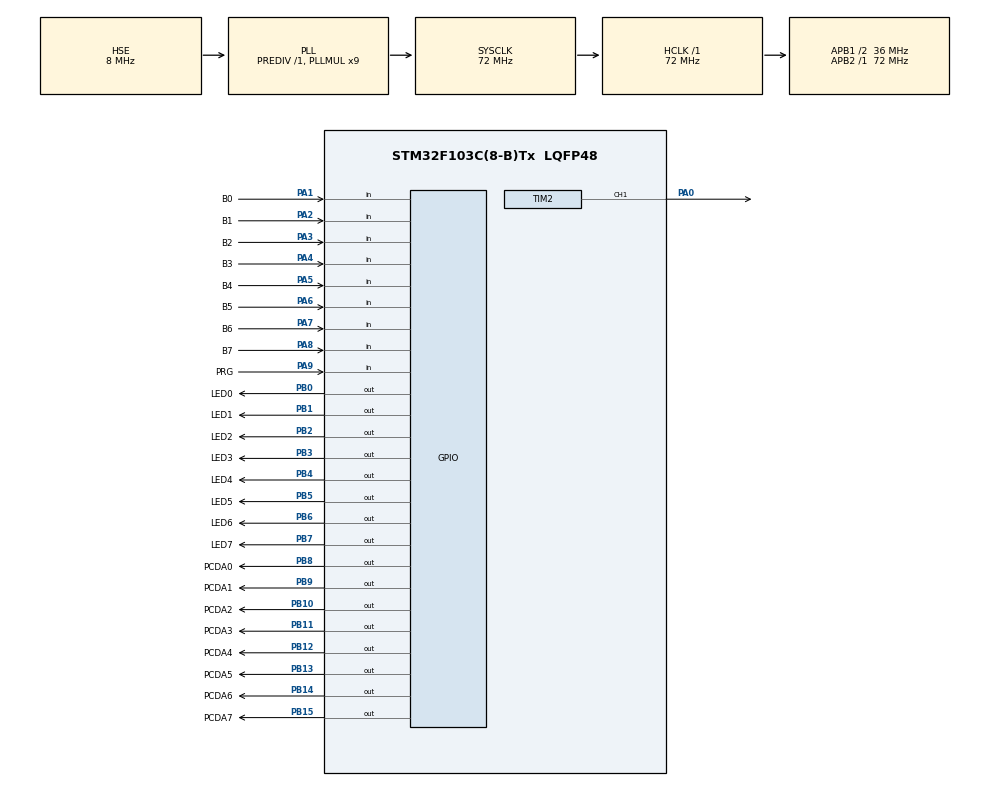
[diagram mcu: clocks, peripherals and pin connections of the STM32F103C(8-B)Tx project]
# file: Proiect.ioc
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Mcu.Family=STM32F1
Mcu.Name=STM32F103C(8-B)Tx
Mcu.Package=LQFP48
NVIC.PriorityGroup=NVIC_PRIORITYGROUP_4
NVIC.TIM2_IRQn=true\:0\:0\:false\:false\:true\:true\:true\:true
PA0-WKUP.Signal=S_TIM2_CH1_ETR
PA1.GPIO_Label=B0
PA1.GPIO_PuPd=GPIO_PULLDOWN
PA1.Signal=GPIO_Input
PA13.Mode=Serial_Wire
PA13.Signal=SYS_JTMS-SWDIO
PA14.Mode=Serial_Wire
PA14.Signal=SYS_JTCK-SWCLK
PA2.GPIO_Label=B1
PA2.GPIO_PuPd=GPIO_PULLDOWN
PA2.Signal=GPIO_Input
PA3.GPIO_Label=B2
PA3.GPIO_PuPd=GPIO_PULLDOWN
PA3.Signal=GPIO_Input
PA4.GPIO_Label=B3
PA4.GPIO_PuPd=GPIO_PULLDOWN
PA4.Signal=GPIO_Input
PA5.GPIO_Label=B4
PA5.GPIO_PuPd=GPIO_PULLDOWN
PA5.Signal=GPIO_Input
PA6.GPIO_Label=B5
PA6.GPIO_PuPd=GPIO_PULLDOWN
PA6.Signal=GPIO_Input
PA7.GPIO_Label=B6
PA7.GPIO_PuPd=GPIO_PULLDOWN
PA7.Signal=GPIO_Input
PA8.GPIO_Label=B7
PA8.GPIO_PuPd=GPIO_PULLDOWN
PA8.Signal=GPIO_Input
PA9.GPIO_Label=PRG
PA9.GPIO_PuPd=GPIO_PULLUP
PA9.Signal=GPIO_Input
PB0.GPIO_Label=LED0
PB0.Signal=GPIO_Output
PB1.GPIO_Label=LED1
PB1.Signal=GPIO_Output
PB10.GPIO_Label=PCDA2
PB10.Signal=GPIO_Output
PB11.GPIO_Label=PCDA3
PB11.Signal=GPIO_Output
PB12.GPIO_Label=PCDA4
PB12.Signal=GPIO_Output
PB13.GPIO_Label=PCDA5
PB13.Signal=GPIO_Output
PB14.GPIO_Label=PCDA6
PB14.Signal=GPIO_Output
PB15.GPIO_Label=PCDA7
PB15.Signal=GPIO_Output
PB2.GPIO_Label=LED2
PB2.Signal=GPIO_Output
PB3.GPIO_Label=LED3
PB3.Signal=GPIO_Output
PB4.GPIO_Label=LED4
PB4.Signal=GPIO_Output
PB5.GPIO_Label=LED5
PB5.Signal=GPIO_Output
PB6.GPIO_Label=LED6
PB6.Signal=GPIO_Output
PB7.GPIO_Label=LED7
PB7.Signal=GPIO_Output
PB8.GPIO_Label=PCDA0
PB8.Signal=GPIO_Output
PB9.GPIO_Label=PCDA1
PB9.Signal=GPIO_Output
PD0-OSC_IN.Mode=HSE-External-Oscillator
PD0-OSC_IN.Signal=RCC_OSC_IN
PD1-OSC_OUT.Mode=HSE-External-Oscillator
PD1-OSC_OUT.Signal=RCC_OSC_OUT
ProjectManager.HeapSize=0x200
ProjectManager.StackSize=0x400
ProjectManager.TargetToolchain=STM32CubeIDE
RCC.AHBFreq_Value=72000000
RCC.APB1CLKDivider=RCC_HCLK_DIV2
RCC.APB1Freq_Value=36000000
RCC.APB1TimFreq_Value=72000000
RCC.APB2Freq_Value=72000000
RCC.APB2TimFreq_Value=72000000
RCC.HCLKFreq_Value=72000000
RCC.PLLMUL=RCC_PLL_MUL9
RCC.PLLSourceVirtual=RCC_PLLSOURCE_HSE
RCC.SYSCLKFreq_VALUE=72000000
RCC.SYSCLKSource=RCC_SYSCLKSOURCE_PLLCLK
RCC.USBFreq_Value=72000000
SH.S_TIM2_CH1_ETR.0=TIM2_CH1,Output Compare1 CH1
TIM2.Channel-Output\ Compare1\ CH1=TIM_CHANNEL_1
TIM2.Period=100
TIM2.Prescaler=7199
VP_TIM2_VS_ClockSourceINT.Mode=Internal
board=custom

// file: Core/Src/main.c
/* USER CODE BEGIN Header */
/**
  ******************************************************************************
  * @file           : main.c
  * @brief          : Main program body
  ******************************************************************************
  * @attention
  *
  * Copyright (c) 2026 STMicroelectronics.
  * All rights reserved.
  *
  * This software is licensed under terms that can be found in the LICENSE file
  * in the root directory of this software component.
  * If no LICENSE file comes with this software, it is provided AS-IS.
  *
  ******************************************************************************
  */
/* USER CODE END Header */
#include "main.h"

TIM_HandleTypeDef htim2;

void SystemClock_Config(void);
static void MX_GPIO_Init(void);
static void MX_TIM2_Init(void);

/* USER CODE BEGIN 0 */
/* Timer2 Interrupt Service Routine*/
void HAL_TIM_PeriodElapsedCallback(TIM_HandleTypeDef *htim2)
{
  if (htim2->Instance == TIM2)
  {
    // Variabila de stare Q pentru automat (trebuie sa fie statica pentru a-si pastra valoarea)
    static uint8_t Q = 0;

    // Variabile pentru a stoca starea curenta a butoanelor
    GPIO_PinState b0, b1, b2, b3, b4, b5, b6, b7;
    GPIO_PinState prg_state;

    // 1. BLOCUL: "citeste B7-B0 (CDA)" + citire PRG
    prg_state = HAL_GPIO_ReadPin(GPIOA, PRG_Pin);

    b0 = HAL_GPIO_ReadPin(GPIOA, B0_Pin);
    b1 = HAL_GPIO_ReadPin(GPIOA, B1_Pin);
    b2 = HAL_GPIO_ReadPin(GPIOA, B2_Pin);
    b3 = HAL_GPIO_ReadPin(GPIOA, B3_Pin);
    b4 = HAL_GPIO_ReadPin(GPIOA, B4_Pin);
    b5 = HAL_GPIO_ReadPin(GPIOA, B5_Pin);
    b6 = HAL_GPIO_ReadPin(GPIOA, B6_Pin);
    b7 = HAL_GPIO_ReadPin(GPIOA, B7_Pin);

    // 2. BLOCUL: "TRS_CDA" (Automatul de stări)
    switch (Q)
    {
      case 0:
        // Așteptăm apăsarea PRG (PRG/ -> LOW / RESET)
        if (prg_state == GPIO_PIN_RESET)
        {
          Q = 1; // Trecem în starea 1
        }
        break;

      case 1:
        // Așteptăm eliberarea PRG (PRG -> HIGH / SET)
        if (prg_state == GPIO_PIN_SET)
        {
          Q = 2; // Trecem în starea 2
        }
        break;

      case 2:
        // BLOCUL: "PCDA = comanda"
        // Scriem valorile citite pe portul PCDA și pe LED-uri
        HAL_GPIO_WritePin(GPIOB, LED0_Pin, b0);
        HAL_GPIO_WritePin(GPIOB, PCDA0_Pin, b0);

        HAL_GPIO_WritePin(GPIOB, LED1_Pin, b1);
        HAL_GPIO_WritePin(GPIOB, PCDA1_Pin, b1);

        HAL_GPIO_WritePin(GPIOB, LED2_Pin, b2);
        HAL_GPIO_WritePin(GPIOB, PCDA2_Pin, b2);

        HAL_GPIO_WritePin(GPIOB, LED3_Pin, b3);
        HAL_GPIO_WritePin(GPIOB, PCDA3_Pin, b3);

        HAL_GPIO_WritePin(GPIOB, LED4_Pin, b4);
        HAL_GPIO_WritePin(GPIOB, PCDA4_Pin, b4);

        HAL_GPIO_WritePin(GPIOB, LED5_Pin, b5);
        HAL_GPIO_WritePin(GPIOB, PCDA5_Pin, b5);

        HAL_GPIO_WritePin(GPIOB, LED6_Pin, b6);
        HAL_GPIO_WritePin(GPIOB, PCDA6_Pin, b6);

        HAL_GPIO_WritePin(GPIOB, LED7_Pin, b7);
        HAL_GPIO_WritePin(GPIOB, PCDA7_Pin, b7);

        // Revenim în starea inițială
        Q = 0;
        break;
    }
    // 3. BLOCUL: "RETURN" (Se iese automat din funcția de întrerupere)
  }
}
/* USER CODE END 0 */

int main(void)
{

  /* MCU Configuration--------------------------------------------------------*/

  /* Reset of all peripherals, Initializes the Flash interface and the Systick. */
  HAL_Init();

  /* Configure the system clock */
  SystemClock_Config();

  /* Initialize all configured peripherals */
  MX_GPIO_Init();
  MX_TIM2_Init();
  /* USER CODE BEGIN 2 */
  HAL_TIM_Base_Start_IT(&htim2); //enable Timer 2 interrupt
  /* USER CODE END 2 */

  /* Infinite loop */
  while (1)
  {

  }
}

void SystemClock_Config(void)
{
  RCC_OscInitTypeDef RCC_OscInitStruct = {0};
  RCC_ClkInitTypeDef RCC_ClkInitStruct = {0};

  /** Initializes the RCC Oscillators according to the specified parameters
  * in the RCC_OscInitTypeDef structure.
  */
  RCC_OscInitStruct.OscillatorType = RCC_OSCILLATORTYPE_HSE;
  RCC_OscInitStruct.HSEState = RCC_HSE_ON;
  RCC_OscInitStruct.HSEPredivValue = RCC_HSE_PREDIV_DIV1;
  RCC_OscInitStruct.HSIState = RCC_HSI_ON;
  RCC_OscInitStruct.PLL.PLLState = RCC_PLL_ON;
  RCC_OscInitStruct.PLL.PLLSource = RCC_PLLSOURCE_HSE;
  RCC_OscInitStruct.PLL.PLLMUL = RCC_PLL_MUL9;
  if (HAL_RCC_OscConfig(&RCC_OscInitStruct) != HAL_OK)
  {
    Error_Handler();
  }

  /** Initializes the CPU, AHB and APB buses clocks
  */
  RCC_ClkInitStruct.ClockType = RCC_CLOCKTYPE_HCLK|RCC_CLOCKTYPE_SYSCLK
                              |RCC_CLOCKTYPE_PCLK1|RCC_CLOCKTYPE_PCLK2;
  RCC_ClkInitStruct.SYSCLKSource = RCC_SYSCLKSOURCE_PLLCLK;
  RCC_ClkInitStruct.AHBCLKDivider = RCC_SYSCLK_DIV1;
  RCC_ClkInitStruct.APB1CLKDivider = RCC_HCLK_DIV2;
  RCC_ClkInitStruct.APB2CLKDivider = RCC_HCLK_DIV1;

  if (HAL_RCC_ClockConfig(&RCC_ClkInitStruct, FLASH_LATENCY_2) != HAL_OK)
  {
    Error_Handler();
  }
}

static void MX_TIM2_Init(void)
{

  TIM_ClockConfigTypeDef sClockSourceConfig = {0};
  TIM_MasterConfigTypeDef sMasterConfig = {0};
  TIM_OC_InitTypeDef sConfigOC = {0};

  htim2.Instance = TIM2;
  htim2.Init.Prescaler = 7199;
  htim2.Init.CounterMode = TIM_COUNTERMODE_UP;
  htim2.Init.Period = 100;
  htim2.Init.ClockDivision = TIM_CLOCKDIVISION_DIV1;
  htim2.Init.AutoReloadPreload = TIM_AUTORELOAD_PRELOAD_DISABLE;
  if (HAL_TIM_Base_Init(&htim2) != HAL_OK)
  {
    Error_Handler();
  }
  sClockSourceConfig.ClockSource = TIM_CLOCKSOURCE_INTERNAL;
  if (HAL_TIM_ConfigClockSource(&htim2, &sClockSourceConfig) != HAL_OK)
  {
    Error_Handler();
  }
  if (HAL_TIM_OC_Init(&htim2) != HAL_OK)
  {
    Error_Handler();
  }
  sMasterConfig.MasterOutputTrigger = TIM_TRGO_RESET;
  sMasterConfig.MasterSlaveMode = TIM_MASTERSLAVEMODE_DISABLE;
  if (HAL_TIMEx_MasterConfigSynchronization(&htim2, &sMasterConfig) != HAL_OK)
  {
    Error_Handler();
  }
  sConfigOC.OCMode = TIM_OCMODE_TIMING;
  sConfigOC.Pulse = 0;
  sConfigOC.OCPolarity = TIM_OCPOLARITY_HIGH;
  sConfigOC.OCFastMode = TIM_OCFAST_DISABLE;
  if (HAL_TIM_OC_ConfigChannel(&htim2, &sConfigOC, TIM_CHANNEL_1) != HAL_OK)
  {
    Error_Handler();
  }
  HAL_TIM_MspPostInit(&htim2);

}

static void MX_GPIO_Init(void)
{
  GPIO_InitTypeDef GPIO_InitStruct = {0};

  /* GPIO Ports Clock Enable */
  __HAL_RCC_GPIOD_CLK_ENABLE();
  __HAL_RCC_GPIOA_CLK_ENABLE();
  __HAL_RCC_GPIOB_CLK_ENABLE();

  /*Configure GPIO pin Output Level */
  HAL_GPIO_WritePin(GPIOB, LED0_Pin|LED1_Pin|LED2_Pin|PCDA2_Pin
                          |PCDA3_Pin|PCDA4_Pin|PCDA5_Pin|PCDA6_Pin
                          |PCDA7_Pin|LED3_Pin|LED4_Pin|LED5_Pin
                          |LED6_Pin|LED7_Pin|PCDA0_Pin|PCDA1_Pin, GPIO_PIN_RESET);

  /*Configure GPIO pins : B0_Pin B1_Pin B2_Pin B3_Pin
                           B4_Pin B5_Pin B6_Pin B7_Pin */
  GPIO_InitStruct.Pin = B0_Pin|B1_Pin|B2_Pin|B3_Pin
                          |B4_Pin|B5_Pin|B6_Pin|B7_Pin;
  GPIO_InitStruct.Mode = GPIO_MODE_INPUT;
  GPIO_InitStruct.Pull = GPIO_PULLDOWN;
  HAL_GPIO_Init(GPIOA, &GPIO_InitStruct);

  /*Configure GPIO pins : LED0_Pin LED1_Pin LED2_Pin PCDA2_Pin
                           PCDA3_Pin PCDA4_Pin PCDA5_Pin PCDA6_Pin
                           PCDA7_Pin LED3_Pin LED4_Pin LED5_Pin
                           LED6_Pin LED7_Pin PCDA0_Pin PCDA1_Pin */
  GPIO_InitStruct.Pin = LED0_Pin|LED1_Pin|LED2_Pin|PCDA2_Pin
                          |PCDA3_Pin|PCDA4_Pin|PCDA5_Pin|PCDA6_Pin
                          |PCDA7_Pin|LED3_Pin|LED4_Pin|LED5_Pin
                          |LED6_Pin|LED7_Pin|PCDA0_Pin|PCDA1_Pin;
  GPIO_InitStruct.Mode = GPIO_MODE_OUTPUT_PP;
  GPIO_InitStruct.Pull = GPIO_NOPULL;
  GPIO_InitStruct.Speed = GPIO_SPEED_FREQ_LOW;
  HAL_GPIO_Init(GPIOB, &GPIO_InitStruct);

  /*Configure GPIO pin : PRG_Pin */
  GPIO_InitStruct.Pin = PRG_Pin;
  GPIO_InitStruct.Mode = GPIO_MODE_INPUT;
  GPIO_InitStruct.Pull = GPIO_PULLUP;
  HAL_GPIO_Init(PRG_GPIO_Port, &GPIO_InitStruct);

}

void Error_Handler(void)
{
  __disable_irq();
  while (1)
  {
  }
}
